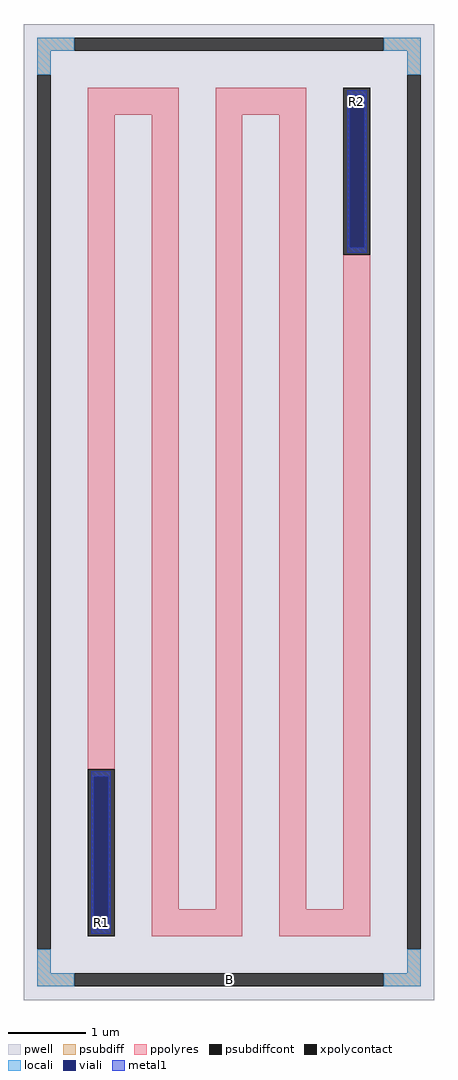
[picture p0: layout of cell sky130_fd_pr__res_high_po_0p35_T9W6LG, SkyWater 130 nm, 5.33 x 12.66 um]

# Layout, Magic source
magic
tech sky130A
magscale 1 2
<< pwell >>
rect -533 -1266 533 1266
<< psubdiff >>
rect -497 1196 -401 1230
rect 401 1196 497 1230
rect -497 1134 -463 1196
rect 463 1134 497 1196
rect -497 -1196 -463 -1134
rect 463 -1196 497 -1134
rect -497 -1230 -401 -1196
rect 401 -1230 497 -1196
<< psubdiffcont >>
rect -401 1196 401 1230
rect -497 -1134 -463 1134
rect 463 -1134 497 1134
rect -401 -1230 401 -1196
<< xpolycontact >>
rect -367 -1100 -297 -668
rect 297 668 367 1100
<< ppolyres >>
rect -367 1030 -131 1100
rect -367 -668 -297 1030
rect -201 -1030 -131 1030
rect -35 1030 201 1100
rect -35 -1030 35 1030
rect -201 -1100 35 -1030
rect 131 -1030 201 1030
rect 297 -1030 367 668
rect 131 -1100 367 -1030
<< locali >>
rect -497 1196 -401 1230
rect 401 1196 497 1230
rect -497 1134 -463 1196
rect 463 1134 497 1196
rect -497 -1196 -463 -1134
rect 463 -1196 497 -1134
rect -497 -1230 -401 -1196
rect 401 -1230 497 -1196
<< viali >>
rect 313 685 351 1082
rect -351 -1082 -313 -685
<< metal1 >>
rect 307 1082 357 1094
rect 307 685 313 1082
rect 351 685 357 1082
rect 307 673 357 685
rect -357 -685 -307 -673
rect -357 -1082 -351 -685
rect -313 -1082 -307 -685
rect -357 -1094 -307 -1082
<< labels >>
rlabel psubdiffcont 0 -1213 0 -1213 0 B
port 1 nsew
rlabel xpolycontact -332 -1065 -332 -1065 0 R1
port 2 nsew
rlabel xpolycontact 332 1065 332 1065 0 R2
port 3 nsew
<< properties >>
string FIXED_BBOX -480 -1213 480 1213
string gencell sky130_fd_pr__res_high_po_0p35
string library sky130
string parameters w 0.35 l 11.0 m 1 nx 5 wmin 0.350 lmin 0.50 class resistor rho 319.8 val 52.646k dummy 0 dw 0.0 term 194.82 sterm 0.0 caplen 0 guard 1 glc 1 grc 1 gtc 1 gbc 1 compatible {sky130_fd_pr__res_high_po_0p35  sky130_fd_pr__res_high_po_0p69 sky130_fd_pr__res_high_po_1p41  sky130_fd_pr__res_high_po_2p85 sky130_fd_pr__res_high_po_5p73} snake 1 full_metal 1 wmax 0.350 vias 1 n_guard 0 hv_guard 0 viagb 0 viagt 0 viagl 0 viagr 0 doports 1
<< end >>
